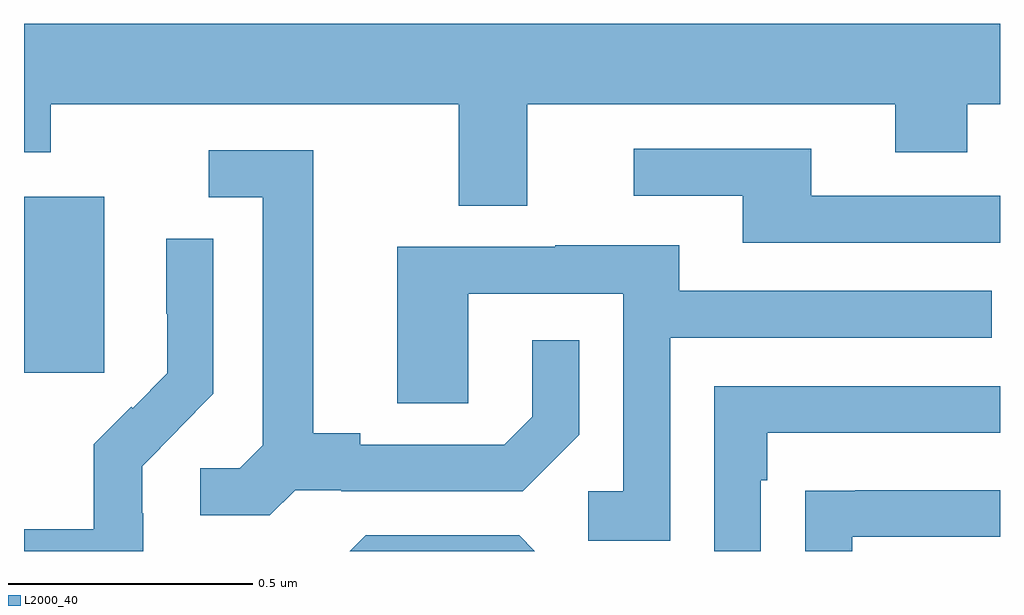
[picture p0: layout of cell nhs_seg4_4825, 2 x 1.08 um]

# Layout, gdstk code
import gdstk
lib = gdstk.Library(unit=1e-6, precision=1e-09)
def R(c, l, rs):  # rectangles x0, y0, x1, y1
    for r in rs: c.add(gdstk.rectangle(r[:2], r[2:], *l))
def P(c, l, *ps):  # polygons
    for p in ps: c.add(gdstk.Polygon(p, *l))
L2000_40 = (2000, 40)

nhs_seg4_4825 = lib.new_cell('nhs_seg4_4825')
R(nhs_seg4_4825, L2000_40, [(170,800.265,170.164,800.626)])
P(nhs_seg4_4825, L2000_40, [(171.031,800.816),(171.785,800.816),(171.785,800.717),(171.933,800.717),(171.933,800.816),(172,800.816),(172,800.98),(170,800.98),(170,800.717),(170.055,800.717),(170.055,800.816),(170.891,800.816),(170.891,800.608),(171.031,800.608)],
  [(172,800.628),(171.613,800.628),(171.613,800.724),(171.249,800.724),(171.249,800.628),(171.473,800.628),(171.473,800.532),(172,800.532)],
  [(170.556,800.025),(170.65,800.025),(170.65,800.022),(171.022,800.022),(171.138,800.138),(171.138,800.332),(171.041,800.332),(171.041,800.175),(170.984,800.118),(170.689,800.118),(170.689,800.141),(170.593,800.141),(170.593,800.721),(170.379,800.721),(170.379,800.625),(170.489,800.625),(170.489,800.117),(170.442,800.07),(170.361,800.07),(170.361,799.973),(170.504,799.973)],
  [(170.244,799.977),(170.242,799.977),(170.242,800.074),(170.316,800.148),(170.315,800.149),(170.388,800.222),(170.388,800.54),(170.292,800.54),(170.292,800.386),(170.294,800.386),(170.294,800.264),(170.223,800.193),(170.22,800.196),(170.143,800.119),(170.143,799.945),(170,799.945),(170,799.9),(170.244,799.9)],
  [(171.324,800.337),(171.983,800.337),(171.983,800.433),(171.343,800.433),(171.343,800.527),(171.089,800.527),(171.089,800.523),(170.765,800.523),(170.765,800.203),(170.91,800.203),(170.91,800.427),(171.228,800.427),(171.228,800.022),(171.156,800.022),(171.156,799.921),(171.324,799.921)],
  [(171.51,800.045),(171.523,800.045),(171.523,800.142),(172,800.142),(172,800.238),(171.414,800.238),(171.414,799.9),(171.51,799.9)],
  [(171.697,799.929),(172,799.929),(172,800.025),(171.703,800.025),(171.703,800.024),(171.601,800.024),(171.601,799.9),(171.697,799.9)],
  [(171.015,799.932),(170.7,799.932),(170.668,799.9),(171.047,799.9)])

lib.write_gds('nhs_seg4_4825.gds')
